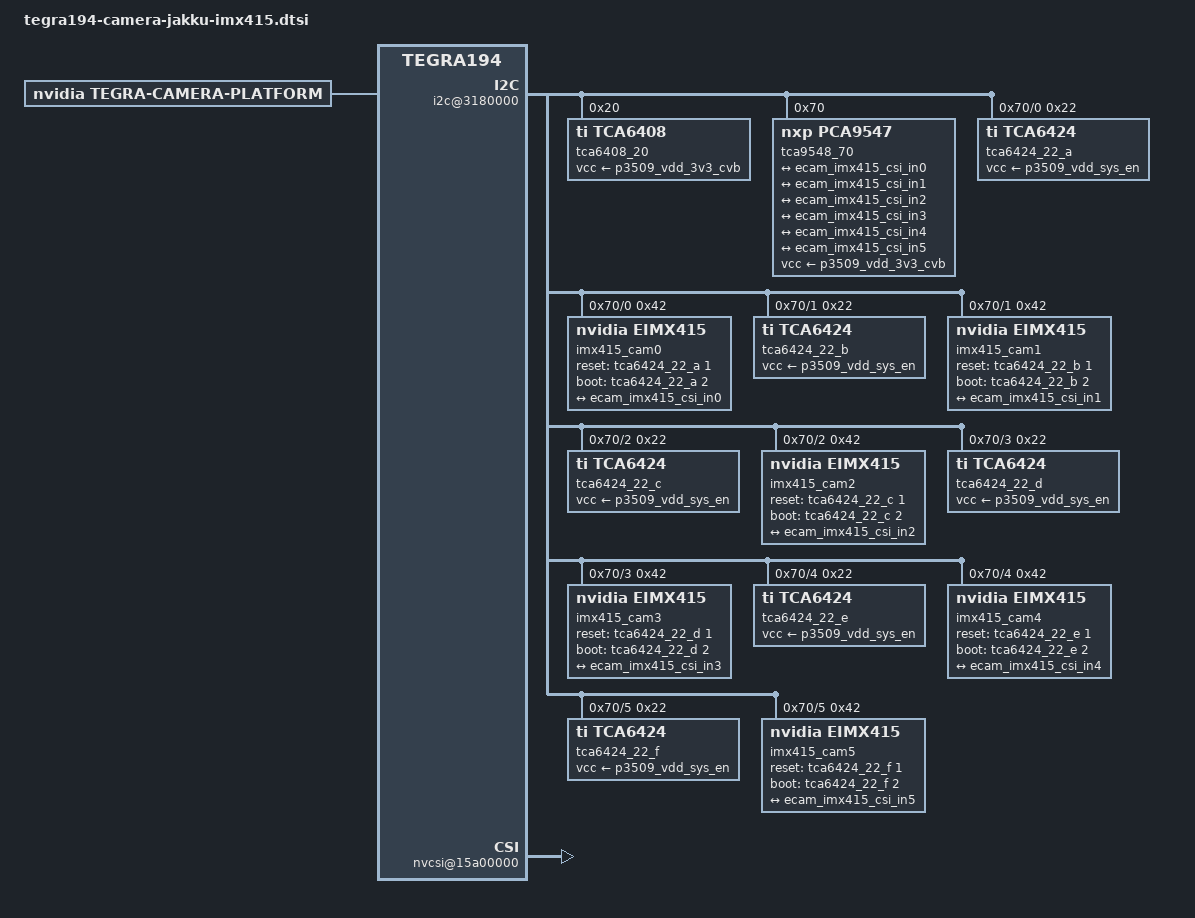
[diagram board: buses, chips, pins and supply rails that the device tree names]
/*
 * Copyright (c) 2018-2020, NVIDIA CORPORATION.  All rights reserved.
 *
 * This program is free software; you can redistribute it and/or modify
 * it under the terms of the GNU General Public License as published by
 * the Free Software Foundation; either version 2 of the License, or
 * (at your option) any later version.
 *
 * This program is distributed in the hope that it will be useful, but WITHOUT
 * ANY WARRANTY; without even the implied warranty of MERCHANTABILITY or
 * FITNESS FOR A PARTICULAR PURPOSE.  See the GNU General Public License for
 * more details.
 *
 * You should have received a copy of the GNU General Public License
 * along with this program.  If not, see <http://www.gnu.org/licenses/>.
 */

#include <dt-bindings/media/camera.h>

#define CAMERA_I2C_MUX_BUS(x) (0x1E + x)
/ {
	i2c@3180000{
		#address-cells = <1>;
		#size-cells = <0>;
		tca6408_20: tca6408@20 {
			    compatible = "ti,tca6408";
			    gpio-controller;
			    #gpio-cells = <2>;
			    reg = <0x20>;
				vcc-supply = <&p3509_vdd_3v3_cvb>;
			    status = "okay";
			    tca6408_20_outlow {
				/*
				 * GPIO-0 : RST_CAM1
				 * GPIO-1 : RST_CAM2
				 * GPIO-2 : RST_CAM3
				 * .... more is there
				 */
				 gpio-hog;
				 gpios = <0 0 1 0 2 0 3 0 4 0 5 0 6 0 7 0>;
				 output-low;
				 label = "cam_rst_0",
						 "cam_rst_1",
						 "cam_rst_2",
						 "cam_rst_3",
						 "cam_rst_4",
						 "cam_rst_5",
						 "ext_gpio_0",
						 "ext_gpio_1";
			    };
				tca6408_20_outhigh {
			            status = "disabled";
				};
			    tca6408_20_input {
			            status = "disabled";
			    };
		};

		tca9548_70: tca9548@70 {
			status = "okay";
			compatible = "nxp,pca9547";
			reg = <0x70>;
			#address-cells = <1>;
			#size-cells = <0>;		
			//vcc-supply = <&en_vdd_cam>;
			vcc-supply = <&p3509_vdd_3v3_cvb>;
			skip_mux_detect;	
			force_bus_start = <CAMERA_I2C_MUX_BUS(0)>;			
			i2c@0 {
				status = "okay";
				reg = <0>;
				i2c-mux,deselect-on-exit;
				#address-cells = <1>;
				#size-cells = <0>;

				tca6424_22_a: tca6424@22 {
			    	compatible = "ti,tca6424";
			    	gpio-controller;
			    	#gpio-cells = <2>;
			    	reg = <0x22>;
					vcc-supply = <&p3509_vdd_sys_en>;
			    	status = "okay";
			    	tca6424_22_outlow {
					status = "okay";
					/*
					 * GPIO-0 : RST_CAM1
					 * GPIO-1 : RST_CAM2
					 * GPIO-2 : RST_CAM3
					 * .... more is there
					 */
					 gpio-hog;
					 gpios = <0 0 1 0 2 0 3 0 4 0 5 0 6 0 7 0>;
					 output-low;
					 label = "tca6424_22_outlow_0",
					         "tca6424_22_outlow_1",
					         "tca6424_22_outlow_2",
					         "tca6424_22_outlow_3",
					         "tca6424_22_outlow_4",
					         "tca6424_22_outlow_5",
					         "tca6424_22_outlow_6",
					         "tca6424_22_outlow_7";
			    	};
			    	tca6424_22_outhigh {
			    	        status = "disabled";
			    	};
			    	tca6424_22_input {
			    	        status = "disabled";
			    	};

				};
				imx415_a@42 {
					reset-gpios = <&tca6424_22_a 1 GPIO_ACTIVE_HIGH>;
					boot-gpios  = <&tca6424_22_a 2 GPIO_ACTIVE_HIGH>;
				};
			};
			i2c@1 {
				status = "okay";
				reg = <1>;
				i2c-mux,deselect-on-exit;
				#address-cells = <1>;
				#size-cells = <0>;
					tca6424_22_b: tca6424@22 {
			    	compatible = "ti,tca6424";
			    	gpio-controller;
			    	#gpio-cells = <2>;
			    	reg = <0x22>;
					vcc-supply = <&p3509_vdd_sys_en>;
			    	status = "okay";
			    	tca6424_22_outlow {
					status = "okay";
					/*
					 * GPIO-0 : RST_CAM1
					 * GPIO-1 : RST_CAM2
					 * GPIO-2 : RST_CAM3
					 * .... more is there
					 */
					 gpio-hog;
					 gpios = <0 0 1 0 2 0 3 0 4 0 5 0 6 0 7 0>;
					 output-low;
					 label = "tca6424_22_outlow_0",
					         "tca6424_22_outlow_1",
					         "tca6424_22_outlow_2",
					         "tca6424_22_outlow_3",
					         "tca6424_22_outlow_4",
					         "tca6424_22_outlow_5",
					         "tca6424_22_outlow_6",
					         "tca6424_22_outlow_7";
			    	};
			    	tca6424_22_outhigh {
			    	        status = "disabled";
			    	};
			    	tca6424_22_input {
			    	        status = "disabled";
			    	};

				};
				imx415_c@42 {
					reset-gpios = <&tca6424_22_b 1 GPIO_ACTIVE_HIGH>;
					boot-gpios  = <&tca6424_22_b 2 GPIO_ACTIVE_HIGH>;
				};
			};
			i2c@2 {
				status = "okay";
				reg = <2>;
				i2c-mux,deselect-on-exit;
				#address-cells = <1>;
				#size-cells = <0>;
					tca6424_22_c: tca6424@22 {
			    	compatible = "ti,tca6424";
			    	gpio-controller;
			    	#gpio-cells = <2>;
			    	reg = <0x22>;
					vcc-supply = <&p3509_vdd_sys_en>;
			    	status = "okay";
			    	tca6424_22_outlow {
					status = "okay";
					/*
					 * GPIO-0 : RST_CAM1
					 * GPIO-1 : RST_CAM2
					 * GPIO-2 : RST_CAM3
					 * .... more is there
					 */
					 gpio-hog;
					 gpios = <0 0 1 0 2 0 3 0 4 0 5 0 6 0 7 0>;
					 output-low;
					 label = "tca6424_22_outlow_0",
					         "tca6424_22_outlow_1",
					         "tca6424_22_outlow_2",
					         "tca6424_22_outlow_3",
					         "tca6424_22_outlow_4",
					         "tca6424_22_outlow_5",
					         "tca6424_22_outlow_6",
					         "tca6424_22_outlow_7";
			    	};
			    	tca6424_22_outhigh {
			    	        status = "disabled";
			    	};
			    	tca6424_22_input {
			    	        status = "disabled";
			    	};

				};
				imx415_d@42 {
					reset-gpios = <&tca6424_22_c 1 GPIO_ACTIVE_HIGH>;
					boot-gpios  = <&tca6424_22_c 2 GPIO_ACTIVE_HIGH>;
				};
			};
			i2c@3 {
				status = "okay";
				reg = <3>;
				i2c-mux,deselect-on-exit;
				#address-cells = <1>;
				#size-cells = <0>;
					tca6424_22_d: tca6424@22 {
			    	compatible = "ti,tca6424";
			    	gpio-controller;
			    	#gpio-cells = <2>;
			    	reg = <0x22>;
					vcc-supply = <&p3509_vdd_sys_en>;
			    	status = "okay";
			    	tca6424_22_outlow {
					status = "okay";
					/*
					 * GPIO-0 : RST_CAM1
					 * GPIO-1 : RST_CAM2
					 * GPIO-2 : RST_CAM3
					 * .... more is there
					 */
					 gpio-hog;
					 gpios = <0 0 1 0 2 0 3 0 4 0 5 0 6 0 7 0>;
					 output-low;
					 label = "tca6424_22_outlow_0",
					         "tca6424_22_outlow_1",
					         "tca6424_22_outlow_2",
					         "tca6424_22_outlow_3",
					         "tca6424_22_outlow_4",
					         "tca6424_22_outlow_5",
					         "tca6424_22_outlow_6",
					         "tca6424_22_outlow_7";
			    	};
			    	tca6424_22_outhigh {
			    	        status = "disabled";
			    	};
			    	tca6424_22_input {
			    	        status = "disabled";
			    	};

				};
				imx415_e@42 {
					reset-gpios = <&tca6424_22_d 1 GPIO_ACTIVE_HIGH>;
					boot-gpios  = <&tca6424_22_d 2 GPIO_ACTIVE_HIGH>;
				};
			};
			i2c@4 {
				status = "okay";
				reg = <4>;
				i2c-mux,deselect-on-exit;
				#address-cells = <1>;
				#size-cells = <0>;
					tca6424_22_e: tca6424@22 {
			    	compatible = "ti,tca6424";
			    	gpio-controller;
			    	#gpio-cells = <2>;
			    	reg = <0x22>;
					vcc-supply = <&p3509_vdd_sys_en>;
			    	status = "okay";
			    	tca6424_22_outlow {
					status = "okay";
					/*
					 * GPIO-0 : RST_CAM1
					 * GPIO-1 : RST_CAM2
					 * GPIO-2 : RST_CAM3
					 * .... more is there
					 */
					 gpio-hog;
					 gpios = <0 0 1 0 2 0 3 0 4 0 5 0 6 0 7 0>;
					 output-low;
					 label = "tca6424_22_outlow_0",
					         "tca6424_22_outlow_1",
					         "tca6424_22_outlow_2",
					         "tca6424_22_outlow_3",
					         "tca6424_22_outlow_4",
					         "tca6424_22_outlow_5",
					         "tca6424_22_outlow_6",
					         "tca6424_22_outlow_7";
			    	};
			    	tca6424_22_outhigh {
			    	        status = "disabled";
			    	};
			    	tca6424_22_input {
			    	        status = "disabled";
			    	};

				};
				imx415_b@42 {
					reset-gpios = <&tca6424_22_e 1 GPIO_ACTIVE_HIGH>;
					boot-gpios  = <&tca6424_22_e 2 GPIO_ACTIVE_HIGH>;
				};
			};
			i2c@5 {
				status = "okay";
				reg = <5>;
				i2c-mux,deselect-on-exit;
				#address-cells = <1>;
				#size-cells = <0>;
					tca6424_22_f: tca6424@22 {
			    	compatible = "ti,tca6424";
			    	gpio-controller;
			    	#gpio-cells = <2>;
			    	reg = <0x22>;
					vcc-supply = <&p3509_vdd_sys_en>;
			    	status = "okay";
			    	tca6424_22_outlow {
					status = "okay";
					/*
					 * GPIO-0 : RST_CAM1
					 * GPIO-1 : RST_CAM2
					 * GPIO-2 : RST_CAM3
					 * .... more is there
					 */
					 gpio-hog;
					 gpios = <0 0 1 0 2 0 3 0 4 0 5 0 6 0 7 0>;
					 output-low;
					 label = "tca6424_22_outlow_0",
					         "tca6424_22_outlow_1",
					         "tca6424_22_outlow_2",
					         "tca6424_22_outlow_3",
					         "tca6424_22_outlow_4",
					         "tca6424_22_outlow_5",
					         "tca6424_22_outlow_6",
					         "tca6424_22_outlow_7";
			    	};
			    	tca6424_22_outhigh {
			    	        status = "disabled";
			    	};
			    	tca6424_22_input {
			    	        status = "disabled";
			    	};

				};
				imx415_g@42 {
					reset-gpios = <&tca6424_22_f 1 GPIO_ACTIVE_HIGH>;
					boot-gpios  = <&tca6424_22_f 2 GPIO_ACTIVE_HIGH>;
				};
			};
		};
	};
};


/ {
	tegra-capture-vi  {
			num-channels = <6>;
			ports {
				status="okay";
				#address-cells = <1>;
				#size-cells = <0>;
				vi_port0: port@0 {
					reg = <0>;
					status="okay";
					ecam_imx415_vi_in0: endpoint {
						status="okay";
						port-index = <0>;
						bus-width = <2>;
						remote-endpoint = <&ecam_imx415_csi_out0>;
					};
				};
				vi_port1: port@1 {
					reg = <1>;
					status="okay";
					ecam_imx415_vi_in1: endpoint {
						status="okay";
						port-index = <2>;
						bus-width = <2>;
						remote-endpoint = <&ecam_imx415_csi_out1>;
					};
				};
				vi_port2: port@2 {
					reg = <2>;
					status="okay";
					ecam_imx415_vi_in2: endpoint {
						status="okay";
						port-index = <3>;
						bus-width = <2>;
						remote-endpoint = <&ecam_imx415_csi_out2>;
					};
				};
				vi_port3: port@3 {
					reg = <3>;
					status="okay";
					ecam_imx415_vi_in3: endpoint {
						status="okay";
						port-index = <4>;
						bus-width = <2>;
						remote-endpoint = <&ecam_imx415_csi_out3>;
					};
				};
				vi_port4: port@4 {
					reg = <4>;
					status="okay";
					ecam_imx415_vi_in4: endpoint {
						status="okay";
						port-index = <1>;
						bus-width = <2>;
						remote-endpoint = <&ecam_imx415_csi_out4>;
					};
				};
				vi_port5: port@5 {
					reg = <5>;
					status="okay";
					ecam_imx415_vi_in5: endpoint {
						status="okay";
						port-index = <5>;
						bus-width = <2>;
						remote-endpoint = <&ecam_imx415_csi_out5>;
					};
				};			
			};
		};

	host1x@13e00000 {	
		nvcsi@15a00000 {
			num-channels = <6>;
			#address-cells = <1>;
			#size-cells = <0>;
			status="okay";
			csi_chan0: channel@0 {
				reg = <0>;
				status="okay";
				ports {
					#address-cells = <1>;
					#size-cells = <0>;
					status="okay";
					csi_chan0_port0: port@0 {
						reg = <0>;
						status="okay";
						ecam_imx415_csi_in0: endpoint@0 {
							port-index = <0>;
							bus-width = <2>;
							remote-endpoint = <&ecam_imx415_out0>;
							status="okay";
						};
					};
					csi_chan0_port1: port@1 {
						reg = <1>;
						status="okay";
						ecam_imx415_csi_out0: endpoint@1 {
							remote-endpoint = <&ecam_imx415_vi_in0>;
							status="okay";
						};
					};
				};
			};
			csi_chan1: channel@1 {
				reg = <1>;
				status="okay";
				ports {
					#address-cells = <1>;
					#size-cells = <0>;
					status="okay";
					csi_chan1_port0: port@0 {
						reg = <0>;
						status="okay";
						ecam_imx415_csi_in1: endpoint@2 {
							port-index = <2>;
							bus-width = <2>;
							status="okay";
							remote-endpoint = <&ecam_imx415_out1>;
						};
					};
					csi_chan1_port1: port@1 {
						reg = <1>;
						status="okay";
						ecam_imx415_csi_out1: endpoint@3 {
							remote-endpoint = <&ecam_imx415_vi_in1>;
							status="okay";
						};
					};
				};
			};
			csi_chan2: channel@2 {
				reg = <2>;
				status="okay";
				ports {
					#address-cells = <1>;
					#size-cells = <0>;
					status="okay";
					csi_chan2_port0: port@0 {
						reg = <0>;
						status="okay";
						ecam_imx415_csi_in2: endpoint@4 {
							port-index = <3>;
							bus-width = <2>;
							remote-endpoint = <&ecam_imx415_out2>;
							status="okay";
						};
					};
					csi_chan2_port1: port@1 {
						reg = <1>;
						status="okay";
						ecam_imx415_csi_out2: endpoint@5 {
							remote-endpoint = <&ecam_imx415_vi_in2>;
							status="okay";
						};
					};
				};
			};
			csi_chan3: channel@3 {
				reg = <3>;
				status="okay";
				ports {
					#address-cells = <1>;
					#size-cells = <0>;
					status="okay";
					csi_chan3_port3: port@0 {
						reg = <0>;
						status="okay";
						ecam_imx415_csi_in3: endpoint@6 {
							port-index = <4>;
							bus-width = <2>;
							remote-endpoint = <&ecam_imx415_out3>;
							status="okay";
						};
					};
					csi_chan3_port1: port@1 {
						reg = <1>;
						status="okay";
						ecam_imx415_csi_out3: endpoint@7 {
							remote-endpoint = <&ecam_imx415_vi_in3>;
							status="okay";
						};
					};
				};
			};
			csi_chan4: channel@4 {
				reg = <4>;
				status="okay";
				ports {
					#address-cells = <1>;
					#size-cells = <0>;
					status="okay";
					csi_chan4_port0: port@0 {
						reg = <0>;
						status="okay";
						ecam_imx415_csi_in4: endpoint@8 {
							port-index = <1>;
							bus-width = <2>;
							remote-endpoint = <&ecam_imx415_out4>;
							status="okay";
						};
					};
					csi_chan4_port1: port@1 {
						reg = <1>;
						status="okay";
						ecam_imx415_csi_out4: endpoint@9 {
							remote-endpoint = <&ecam_imx415_vi_in4>;
							status="okay";
						};
					};
				};
			};
			csi_chan5: channel@5 {
				reg = <5>;
				status="okay";
				ports {
					#address-cells = <1>;
					#size-cells = <0>;
					status="okay";
					csi_chan5_port0: port@0 {
						reg = <0>;
						status="okay";
						ecam_imx415_csi_in5: endpoint@10 {
							port-index = <5>;
							bus-width = <2>;
							remote-endpoint = <&ecam_imx415_out5>;
							status="okay";
						};
					};
					csi_chan5_port1: port@1 {
						reg = <1>;
						status="okay";
						ecam_imx415_csi_out5: endpoint@111 {
							remote-endpoint = <&ecam_imx415_vi_in5>;
							status="okay";
						};
					};
				};
			};
		};
	};

	i2c@3180000{ 		
		tca9548@70 {
			i2c_0: i2c@0 {
				imx415_cam0: imx415_a@42 {
					compatible = "nvidia,eimx415";
					/* I2C device address */
					reg = <0x42>;

					/* V4L2 device node location */
					devnode = "video0";
					status = "okay";
					/* Physical dimensions of sensor */
					physical_w = "5.60";
					physical_h = "3.175";

					sensor_model = "eimx415";

					use_decibel_gain = "true";
					use_sensor_mode_id = "true";
					use_dol_wdr_mode = "false";
					use_master_slave_mode = "false";
					limit_analog_gain = "true";
					camera_mipi_lanes = /bits/ 8 <2>;
					mipi-clk-configurable;
					camera_mipi_clk = /bits/ 16 <2000>;
					mode0 {
						mclk_khz = "37125";
						num_lanes = "2";
						tegra_sinterface = "serial_a";
						phy_mode = "DPHY";
						discontinuous_clk = "no";
						dpcm_enable = "false";
						cil_settletime = "0";
						dynamic_pixel_bit_depth = "12";
						csi_pixel_bit_depth = "12";
						mode_type = "bayer";
						pixel_phase = "gbrg";

						active_w = "3840";
						active_h = "2160";
						readout_orientation = "0";
						line_length = "887";
						inherent_gain = "1";
						mclk_multiplier = "1";
						pix_clk_hz = "300000000";

						gain_factor = "10";
						min_gain_val = "0";
						max_gain_val = "300";
						step_gain_val = "3";
						default_gain = "0";
						min_hdr_ratio = "1";
						max_hdr_ratio = "1";
						framerate_factor = "1000000";
						min_framerate = "5000000";
						max_framerate = "37000000";
						step_framerate = "1";
						default_framerate = "37000000";
						exposure_factor = "1000000";
						min_exp_time = "450";
						max_exp_time = "200000";
						step_exp_time = "1";
						default_exp_time = "27027";
						embedded_metadata_height = "1";
					};
					mode1 {
						mclk_khz = "37125";
						num_lanes = "2";
						tegra_sinterface = "serial_a";
						phy_mode = "DPHY";
						discontinuous_clk = "no";
						dpcm_enable = "false";
						cil_settletime = "0";
						dynamic_pixel_bit_depth = "10";
						csi_pixel_bit_depth = "10";
						mode_type = "bayer";
						pixel_phase = "gbrg";

						active_w = "3840";
						active_h = "2160";
						readout_orientation = "0";
						line_length = "746";
						inherent_gain = "1";
						mclk_multiplier = "1";
						pix_clk_hz = "300000000";

						gain_factor = "10";
						min_gain_val = "0";
						max_gain_val = "300";
						step_gain_val = "3";
						default_gain = "0";
						min_hdr_ratio = "1";
						max_hdr_ratio = "1";
						framerate_factor = "1000000";
						min_framerate = "5000000";
						max_framerate = "44000000";
						step_framerate = "1";
						default_framerate = "44000000";
						exposure_factor = "1000000";
						min_exp_time = "450";
						max_exp_time = "200000";
						step_exp_time = "1";
						default_exp_time = "22727";
						embedded_metadata_height = "1";
					};
					mode2 {
						mclk_khz = "37125";
						num_lanes = "2";
						tegra_sinterface = "serial_a";
						phy_mode = "DPHY";
						discontinuous_clk = "no";
						dpcm_enable = "false";
						cil_settletime = "0";
						dynamic_pixel_bit_depth = "12";
						csi_pixel_bit_depth = "12";
						mode_type = "bayer";
						pixel_phase = "gbrg";

						active_w = "1944";
						active_h = "1096";
						readout_orientation = "0";
						line_length = "470";
						inherent_gain = "1";
						mclk_multiplier = "1";
						pix_clk_hz = "300000000";

						gain_factor = "10";
						min_gain_val = "0";
						max_gain_val = "300";
						step_gain_val = "3";
						default_gain = "0";
						min_hdr_ratio = "1";
						max_hdr_ratio = "1";
						framerate_factor = "1000000";
						min_framerate = "5000000";
						max_framerate = "70000000";
						step_framerate = "1";
						default_framerate = "70000000";
						exposure_factor = "1000000";
						min_exp_time = "450";
						max_exp_time = "200000";
						step_exp_time = "1";
						default_exp_time = "14285";
						embedded_metadata_height = "1";
					};
					mode3 {
						mclk_khz = "37125";
						num_lanes = "2";
						tegra_sinterface = "serial_a";
						phy_mode = "DPHY";
						discontinuous_clk = "no";
						dpcm_enable = "false";
						cil_settletime = "0";
						dynamic_pixel_bit_depth = "12";
						csi_pixel_bit_depth = "12";
						mode_type = "bayer";
						pixel_phase = "gbrg";

						active_w = "1296";
						active_h = "732";
						readout_orientation = "0";
						line_length = "470";
						inherent_gain = "1";
						mclk_multiplier = "1";
						pix_clk_hz = "300000000";

						gain_factor = "10";
						min_gain_val = "0";
						max_gain_val = "300";
						step_gain_val = "3";
						default_gain = "0";
						min_hdr_ratio = "1";
						max_hdr_ratio = "1";
						framerate_factor = "1000000";
						min_framerate = "5000000";
						max_framerate = "104000000";
						step_framerate = "1";
						default_framerate = "104000000";
						exposure_factor = "1000000";
						min_exp_time = "450";
						max_exp_time = "200000";
						step_exp_time = "1";
						default_exp_time = "9615";
						embedded_metadata_height = "1";
					};
					ports {
						#address-cells = <1>;
						#size-cells = <0>;
						status="okay";
						port@0 {
						status="okay";
							reg = <0>;
							ecam_imx415_out0: endpoint {
								port-index = <0>;
								bus-width = <2>;
								remote-endpoint = <&ecam_imx415_csi_in0>;
							};
						};
					};
				};
			};
			i2c_1: i2c@1 {
				imx415_cam1: imx415_c@42 {
					compatible = "nvidia,eimx415";
					/* I2C device address */
					reg = <0x42>;

					/* V4L2 device node location */
					devnode = "video1";
					status = "okay";
					/* Physical dimensions of sensor */
					physical_w = "5.60";
					physical_h = "3.175";

					sensor_model = "eimx415";

					use_decibel_gain = "true";
					use_sensor_mode_id = "true";
					use_dol_wdr_mode = "false";
					use_master_slave_mode = "false";
					limit_analog_gain = "true";
					camera_mipi_lanes = /bits/ 8 <2>;
					mipi-clk-configurable;
					camera_mipi_clk = /bits/ 16 <2000>;
					mode0 {
						mclk_khz = "37125";
						num_lanes = "2";
						tegra_sinterface = "serial_c";
						phy_mode = "DPHY";
						discontinuous_clk = "no";
						dpcm_enable = "false";
						cil_settletime = "0";
						dynamic_pixel_bit_depth = "12";
						csi_pixel_bit_depth = "12";
						mode_type = "bayer";
						pixel_phase = "gbrg";

						active_w = "3840";
						active_h = "2160";
						readout_orientation = "0";
						line_length = "887";
						inherent_gain = "1";
						mclk_multiplier = "1";
						pix_clk_hz = "300000000";

						gain_factor = "10";
						min_gain_val = "0";
						max_gain_val = "300";
						step_gain_val = "3";
						default_gain = "0";
						min_hdr_ratio = "1";
						max_hdr_ratio = "1";
						framerate_factor = "1000000";
						min_framerate = "5000000";
						max_framerate = "37000000";
						step_framerate = "1";
						default_framerate = "37000000";
						exposure_factor = "1000000";
						min_exp_time = "450";
						max_exp_time = "200000";
						step_exp_time = "1";
						default_exp_time = "27027";
						embedded_metadata_height = "1";
					};
					mode1 {
						mclk_khz = "37125";
						num_lanes = "2";
						tegra_sinterface = "serial_c";
						phy_mode = "DPHY";
						discontinuous_clk = "no";
						dpcm_enable = "false";
						cil_settletime = "0";
						dynamic_pixel_bit_depth = "10";
						csi_pixel_bit_depth = "10";
						mode_type = "bayer";
						pixel_phase = "gbrg";

						active_w = "3840";
						active_h = "2160";
						readout_orientation = "0";
						line_length = "746";
						inherent_gain = "1";
						mclk_multiplier = "1";
						pix_clk_hz = "300000000";

						gain_factor = "10";
						min_gain_val = "0";
						max_gain_val = "300";
						step_gain_val = "3";
						default_gain = "0";
						min_hdr_ratio = "1";
						max_hdr_ratio = "1";
						framerate_factor = "1000000";
						min_framerate = "5000000";
						max_framerate = "44000000";
						step_framerate = "1";
						default_framerate = "44000000";
						exposure_factor = "1000000";
						min_exp_time = "450";
						max_exp_time = "200000";
						step_exp_time = "1";
						default_exp_time = "22727";
						embedded_metadata_height = "1";
					};
					mode2 {
						mclk_khz = "37125";
						num_lanes = "2";
						tegra_sinterface = "serial_c";
						phy_mode = "DPHY";
						discontinuous_clk = "no";
						dpcm_enable = "false";
						cil_settletime = "0";
						dynamic_pixel_bit_depth = "12";
						csi_pixel_bit_depth = "12";
						mode_type = "bayer";
						pixel_phase = "gbrg";

						active_w = "1944";
						active_h = "1096";
						readout_orientation = "0";
						line_length = "470";
						inherent_gain = "1";
						mclk_multiplier = "1";
						pix_clk_hz = "300000000";

						gain_factor = "10";
						min_gain_val = "0";
						max_gain_val = "300";
						step_gain_val = "3";
						default_gain = "0";
						min_hdr_ratio = "1";
						max_hdr_ratio = "1";
						framerate_factor = "1000000";
						min_framerate = "5000000";
						max_framerate = "70000000";
						step_framerate = "1";
						default_framerate = "70000000";
						exposure_factor = "1000000";
						min_exp_time = "450";
						max_exp_time = "200000";
						step_exp_time = "1";
						default_exp_time = "14285";
						embedded_metadata_height = "1";
					};
					mode3 {
						mclk_khz = "37125";
						num_lanes = "2";
						tegra_sinterface = "serial_c";
						phy_mode = "DPHY";
						discontinuous_clk = "no";
						dpcm_enable = "false";
						cil_settletime = "0";
						dynamic_pixel_bit_depth = "12";
						csi_pixel_bit_depth = "12";
						mode_type = "bayer";
						pixel_phase = "gbrg";

						active_w = "1296";
						active_h = "732";
						readout_orientation = "0";
						line_length = "470";
						inherent_gain = "1";
						mclk_multiplier = "1";
						pix_clk_hz = "300000000";

						gain_factor = "10";
						min_gain_val = "0";
						max_gain_val = "300";
						step_gain_val = "3";
						default_gain = "0";
						min_hdr_ratio = "1";
						max_hdr_ratio = "1";
						framerate_factor = "1000000";
						min_framerate = "5000000";
						max_framerate = "104000000";
						step_framerate = "1";
						default_framerate = "104000000";
						exposure_factor = "1000000";
						min_exp_time = "450";
						max_exp_time = "200000";
						step_exp_time = "1";
						default_exp_time = "9615";
						embedded_metadata_height = "1";
					};
					ports {
						#address-cells = <1>;
						#size-cells = <0>;
						port@0 {
							reg = <0>;
							status="okay";
							ecam_imx415_out1: endpoint {
								status = "okay";
								port-index = <2>;
								bus-width = <2>;
								remote-endpoint = <&ecam_imx415_csi_in1>;
							};
						};
					};
				};
			};
			i2c_2: i2c@2 { /*CSI B*/
				imx415_cam2: imx415_d@42 {
					compatible = "nvidia,eimx415";
					/* I2C device address */
					reg = <0x42>;

					/* V4L2 device node location */
					devnode = "video2";
					status = "okay";
					/* Physical dimensions of sensor */
					physical_w = "5.60";
					physical_h = "3.175";

					sensor_model = "eimx415";

					use_decibel_gain = "true";
					use_sensor_mode_id = "true";
					use_dol_wdr_mode = "false";
					use_master_slave_mode = "false";
					limit_analog_gain = "true";
					camera_mipi_lanes = /bits/ 8 <2>;
					mipi-clk-configurable;
					camera_mipi_clk = /bits/ 16 <2000>;
					mode0 {
						mclk_khz = "37125";
						num_lanes = "2";
						tegra_sinterface = "serial_d";
						phy_mode = "DPHY";
						discontinuous_clk = "no";
						dpcm_enable = "false";
						cil_settletime = "0";
						dynamic_pixel_bit_depth = "12";
						csi_pixel_bit_depth = "12";
						mode_type = "bayer";
						pixel_phase = "gbrg";

						active_w = "3840";
						active_h = "2160";
						readout_orientation = "0";
						line_length = "887";
						inherent_gain = "1";
						mclk_multiplier = "1";
						pix_clk_hz = "300000000";

						gain_factor = "10";
						min_gain_val = "0";
						max_gain_val = "300";
						step_gain_val = "3";
						default_gain = "0";
						min_hdr_ratio = "1";
						max_hdr_ratio = "1";
						framerate_factor = "1000000";
						min_framerate = "5000000";
						max_framerate = "37000000";
						step_framerate = "1";
						default_framerate = "37000000";
						exposure_factor = "1000000";
						min_exp_time = "450";
						max_exp_time = "200000";
						step_exp_time = "1";
						default_exp_time = "27027";
						embedded_metadata_height = "1";
					};
					mode1 {
						mclk_khz = "37125";
						num_lanes = "2";
						tegra_sinterface = "serial_d";
						phy_mode = "DPHY";
						discontinuous_clk = "no";
						dpcm_enable = "false";
						cil_settletime = "0";
						dynamic_pixel_bit_depth = "10";
						csi_pixel_bit_depth = "10";
						mode_type = "bayer";
						pixel_phase = "gbrg";

						active_w = "3840";
						active_h = "2160";
						readout_orientation = "0";
						line_length = "746";
						inherent_gain = "1";
						mclk_multiplier = "1";
						pix_clk_hz = "300000000";

						gain_factor = "10";
						min_gain_val = "0";
						max_gain_val = "300";
						step_gain_val = "3";
						default_gain = "0";
						min_hdr_ratio = "1";
						max_hdr_ratio = "1";
						framerate_factor = "1000000";
						min_framerate = "5000000";
						max_framerate = "44000000";
						step_framerate = "1";
						default_framerate = "44000000";
						exposure_factor = "1000000";
						min_exp_time = "450";
						max_exp_time = "200000";
						step_exp_time = "1";
						default_exp_time = "22727";
						embedded_metadata_height = "1";
					};
					mode2 {
						mclk_khz = "37125";
						num_lanes = "2";
						tegra_sinterface = "serial_d";
						phy_mode = "DPHY";
						discontinuous_clk = "no";
						dpcm_enable = "false";
						cil_settletime = "0";
						dynamic_pixel_bit_depth = "12";
						csi_pixel_bit_depth = "12";
						mode_type = "bayer";
						pixel_phase = "gbrg";

						active_w = "1944";
						active_h = "1096";
						readout_orientation = "0";
						line_length = "470";
						inherent_gain = "1";
						mclk_multiplier = "1";
						pix_clk_hz = "300000000";

						gain_factor = "10";
						min_gain_val = "0";
						max_gain_val = "300";
						step_gain_val = "3";
						default_gain = "0";
						min_hdr_ratio = "1";
						max_hdr_ratio = "1";
						framerate_factor = "1000000";
						min_framerate = "5000000";
						max_framerate = "70000000";
						step_framerate = "1";
						default_framerate = "70000000";
						exposure_factor = "1000000";
						min_exp_time = "450";
						max_exp_time = "200000";
						step_exp_time = "1";
						default_exp_time = "14285";
						embedded_metadata_height = "1";
					};
					mode3 {
						mclk_khz = "37125";
						num_lanes = "2";
						tegra_sinterface = "serial_d";
						phy_mode = "DPHY";
						discontinuous_clk = "no";
						dpcm_enable = "false";
						cil_settletime = "0";
						dynamic_pixel_bit_depth = "12";
						csi_pixel_bit_depth = "12";
						mode_type = "bayer";
						pixel_phase = "gbrg";

						active_w = "1296";
						active_h = "732";
						readout_orientation = "0";
						line_length = "470";
						inherent_gain = "1";
						mclk_multiplier = "1";
						pix_clk_hz = "300000000";

						gain_factor = "10";
						min_gain_val = "0";
						max_gain_val = "300";
						step_gain_val = "3";
						default_gain = "0";
						min_hdr_ratio = "1";
						max_hdr_ratio = "1";
						framerate_factor = "1000000";
						min_framerate = "5000000";
						max_framerate = "104000000";
						step_framerate = "1";
						default_framerate = "104000000";
						exposure_factor = "1000000";
						min_exp_time = "450";
						max_exp_time = "200000";
						step_exp_time = "1";
						default_exp_time = "9615";
						embedded_metadata_height = "1";
					};
					ports {
						#address-cells = <1>;
						#size-cells = <0>;
						status="okay";
						port@0 {
						status="okay";
							reg = <0>;
							ecam_imx415_out2: endpoint {
								port-index = <3>;
								bus-width = <2>;
								remote-endpoint = <&ecam_imx415_csi_in2>;
							};
						};
					};
				};
			};
			i2c_3: i2c@3 { /*CSI D*/
				imx415_cam3: imx415_e@42 {
					compatible = "nvidia,eimx415";
					/* I2C device address */
					reg = <0x42>;

					/* V4L2 device node location */
					devnode = "video3";
					status = "okay";
					/* Physical dimensions of sensor */
					physical_w = "5.60";
					physical_h = "3.175";

					sensor_model = "eimx415";

					use_decibel_gain = "true";
					use_sensor_mode_id = "true";
					use_dol_wdr_mode = "false";
					use_master_slave_mode = "false";
					limit_analog_gain = "true";
					camera_mipi_lanes = /bits/ 8 <2>;
					mipi-clk-configurable;
					camera_mipi_clk = /bits/ 16 <2000>;
					mode0 {
						mclk_khz = "37125";
						num_lanes = "2";
						tegra_sinterface = "serial_e";
						phy_mode = "DPHY";
						discontinuous_clk = "no";
						dpcm_enable = "false";
						cil_settletime = "0";
						dynamic_pixel_bit_depth = "12";
						csi_pixel_bit_depth = "12";
						mode_type = "bayer";
						pixel_phase = "gbrg";

						active_w = "3840";
						active_h = "2160";
						readout_orientation = "0";
						line_length = "887";
						inherent_gain = "1";
						mclk_multiplier = "1";
						pix_clk_hz = "300000000";

						gain_factor = "10";
						min_gain_val = "0";
						max_gain_val = "300";
						step_gain_val = "3";
						default_gain = "0";
						min_hdr_ratio = "1";
						max_hdr_ratio = "1";
						framerate_factor = "1000000";
						min_framerate = "5000000";
						max_framerate = "37000000";
						step_framerate = "1";
						default_framerate = "37000000";
						exposure_factor = "1000000";
						min_exp_time = "450";
						max_exp_time = "200000";
						step_exp_time = "1";
						default_exp_time = "27027";
						embedded_metadata_height = "1";
					};
					mode1 {
						mclk_khz = "37125";
						num_lanes = "2";
						tegra_sinterface = "serial_e";
						phy_mode = "DPHY";
						discontinuous_clk = "no";
						dpcm_enable = "false";
						cil_settletime = "0";
						dynamic_pixel_bit_depth = "10";
						csi_pixel_bit_depth = "10";
						mode_type = "bayer";
						pixel_phase = "gbrg";

						active_w = "3840";
						active_h = "2160";
						readout_orientation = "0";
						line_length = "746";
						inherent_gain = "1";
						mclk_multiplier = "1";
						pix_clk_hz = "300000000";

						gain_factor = "10";
						min_gain_val = "0";
						max_gain_val = "300";
						step_gain_val = "3";
						default_gain = "0";
						min_hdr_ratio = "1";
						max_hdr_ratio = "1";
						framerate_factor = "1000000";
						min_framerate = "5000000";
						max_framerate = "44000000";
						step_framerate = "1";
						default_framerate = "44000000";
						exposure_factor = "1000000";
						min_exp_time = "450";
						max_exp_time = "200000";
						step_exp_time = "1";
						default_exp_time = "22727";
						embedded_metadata_height = "1";
					};
					mode2 {
						mclk_khz = "37125";
						num_lanes = "2";
						tegra_sinterface = "serial_e";
						phy_mode = "DPHY";
						discontinuous_clk = "no";
						dpcm_enable = "false";
						cil_settletime = "0";
						dynamic_pixel_bit_depth = "12";
						csi_pixel_bit_depth = "12";
						mode_type = "bayer";
						pixel_phase = "gbrg";

						active_w = "1944";
						active_h = "1096";
						readout_orientation = "0";
						line_length = "470";
						inherent_gain = "1";
						mclk_multiplier = "1";
						pix_clk_hz = "300000000";

						gain_factor = "10";
						min_gain_val = "0";
						max_gain_val = "300";
						step_gain_val = "3";
						default_gain = "0";
						min_hdr_ratio = "1";
						max_hdr_ratio = "1";
						framerate_factor = "1000000";
						min_framerate = "5000000";
						max_framerate = "70000000";
						step_framerate = "1";
						default_framerate = "70000000";
						exposure_factor = "1000000";
						min_exp_time = "450";
						max_exp_time = "200000";
						step_exp_time = "1";
						default_exp_time = "14285";
						embedded_metadata_height = "1";
					};
					mode3 {
						mclk_khz = "37125";
						num_lanes = "2";
						tegra_sinterface = "serial_e";
						phy_mode = "DPHY";
						discontinuous_clk = "no";
						dpcm_enable = "false";
						cil_settletime = "0";
						dynamic_pixel_bit_depth = "12";
						csi_pixel_bit_depth = "12";
						mode_type = "bayer";
						pixel_phase = "gbrg";

						active_w = "1296";
						active_h = "732";
						readout_orientation = "0";
						line_length = "470";
						inherent_gain = "1";
						mclk_multiplier = "1";
						pix_clk_hz = "300000000";

						gain_factor = "10";
						min_gain_val = "0";
						max_gain_val = "300";
						step_gain_val = "3";
						default_gain = "0";
						min_hdr_ratio = "1";
						max_hdr_ratio = "1";
						framerate_factor = "1000000";
						min_framerate = "5000000";
						max_framerate = "104000000";
						step_framerate = "1";
						default_framerate = "104000000";
						exposure_factor = "1000000";
						min_exp_time = "450";
						max_exp_time = "200000";
						step_exp_time = "1";
						default_exp_time = "9615";
						embedded_metadata_height = "1";
					};
					ports {
						#address-cells = <1>;
						#size-cells = <0>;
						status="okay";
						port@0 {
						status="okay";
							reg = <0>;
							ecam_imx415_out3: endpoint {
								port-index = <4>;
								bus-width = <2>;
								remote-endpoint = <&ecam_imx415_csi_in3>;
							};
						};
					};
				};
			};
			i2c_4: i2c@4 { /*CSI F*/
				imx415_cam4: imx415_b@42 {
					compatible = "nvidia,eimx415";
					/* I2C device address */
					reg = <0x42>;

					/* V4L2 device node location */
					devnode = "video4";
					status = "okay";
					/* Physical dimensions of sensor */
					physical_w = "5.60";
					physical_h = "3.175";

					sensor_model = "eimx415";

					use_decibel_gain = "true";
					use_sensor_mode_id = "true";
					use_dol_wdr_mode = "false";
					use_master_slave_mode = "false";
					limit_analog_gain = "true";
					camera_mipi_lanes = /bits/ 8 <2>;
					mipi-clk-configurable;
					camera_mipi_clk = /bits/ 16 <2000>;
					mode0 {
						mclk_khz = "37125";
						num_lanes = "2";
						tegra_sinterface = "serial_b";
						phy_mode = "DPHY";
						discontinuous_clk = "no";
						dpcm_enable = "false";
						cil_settletime = "0";
						dynamic_pixel_bit_depth = "12";
						csi_pixel_bit_depth = "12";
						mode_type = "bayer";
						pixel_phase = "gbrg";

						active_w = "3840";
						active_h = "2160";
						readout_orientation = "0";
						line_length = "887";
						inherent_gain = "1";
						mclk_multiplier = "1";
						pix_clk_hz = "300000000";

						gain_factor = "10";
						min_gain_val = "0";
						max_gain_val = "300";
						step_gain_val = "3";
						default_gain = "0";
						min_hdr_ratio = "1";
						max_hdr_ratio = "1";
						framerate_factor = "1000000";
						min_framerate = "5000000";
						max_framerate = "37000000";
						step_framerate = "1";
						default_framerate = "37000000";
						exposure_factor = "1000000";
						min_exp_time = "450";
						max_exp_time = "200000";
						step_exp_time = "1";
						default_exp_time = "27027";
						embedded_metadata_height = "1";
					};
					mode1 {
						mclk_khz = "37125";
						num_lanes = "2";
						tegra_sinterface = "serial_b";
						phy_mode = "DPHY";
						discontinuous_clk = "no";
						dpcm_enable = "false";
						cil_settletime = "0";
						dynamic_pixel_bit_depth = "10";
						csi_pixel_bit_depth = "10";
						mode_type = "bayer";
						pixel_phase = "gbrg";

						active_w = "3840";
						active_h = "2160";
						readout_orientation = "0";
						line_length = "746";
						inherent_gain = "1";
						mclk_multiplier = "1";
						pix_clk_hz = "300000000";

						gain_factor = "10";
						min_gain_val = "0";
						max_gain_val = "300";
						step_gain_val = "3";
						default_gain = "0";
						min_hdr_ratio = "1";
						max_hdr_ratio = "1";
						framerate_factor = "1000000";
						min_framerate = "5000000";
						max_framerate = "44000000";
						step_framerate = "1";
						default_framerate = "44000000";
						exposure_factor = "1000000";
						min_exp_time = "450";
						max_exp_time = "200000";
						step_exp_time = "1";
						default_exp_time = "22727";
						embedded_metadata_height = "1";
					};
					mode2 {
						mclk_khz = "37125";
						num_lanes = "2";
						tegra_sinterface = "serial_b";
						phy_mode = "DPHY";
						discontinuous_clk = "no";
						dpcm_enable = "false";
						cil_settletime = "0";
						dynamic_pixel_bit_depth = "12";
						csi_pixel_bit_depth = "12";
						mode_type = "bayer";
						pixel_phase = "gbrg";

						active_w = "1944";
						active_h = "1096";
						readout_orientation = "0";
						line_length = "470";
						inherent_gain = "1";
						mclk_multiplier = "1";
						pix_clk_hz = "300000000";

						gain_factor = "10";
						min_gain_val = "0";
						max_gain_val = "300";
						step_gain_val = "3";
						default_gain = "0";
						min_hdr_ratio = "1";
						max_hdr_ratio = "1";
						framerate_factor = "1000000";
						min_framerate = "5000000";
						max_framerate = "70000000";
						step_framerate = "1";
						default_framerate = "70000000";
						exposure_factor = "1000000";
						min_exp_time = "450";
						max_exp_time = "200000";
						step_exp_time = "1";
						default_exp_time = "14285";
						embedded_metadata_height = "1";
					};
					mode3 {
						mclk_khz = "37125";
						num_lanes = "2";
						tegra_sinterface = "serial_b";
						phy_mode = "DPHY";
						discontinuous_clk = "no";
						dpcm_enable = "false";
						cil_settletime = "0";
						dynamic_pixel_bit_depth = "12";
						csi_pixel_bit_depth = "12";
						mode_type = "bayer";
						pixel_phase = "gbrg";

						active_w = "1296";
						active_h = "732";
						readout_orientation = "0";
						line_length = "470";
						inherent_gain = "1";
						mclk_multiplier = "1";
						pix_clk_hz = "300000000";

						gain_factor = "10";
						min_gain_val = "0";
						max_gain_val = "300";
						step_gain_val = "3";
						default_gain = "0";
						min_hdr_ratio = "1";
						max_hdr_ratio = "1";
						framerate_factor = "1000000";
						min_framerate = "5000000";
						max_framerate = "104000000";
						step_framerate = "1";
						default_framerate = "104000000";
						exposure_factor = "1000000";
						min_exp_time = "450";
						max_exp_time = "200000";
						step_exp_time = "1";
						default_exp_time = "9615";
						embedded_metadata_height = "1";
					};
					ports {
						#address-cells = <1>;
						#size-cells = <0>;
						status="okay";
						port@0 {
						status="okay";
							reg = <0>;
							ecam_imx415_out4: endpoint {
								port-index = <1>;
								bus-width = <2>;
								remote-endpoint = <&ecam_imx415_csi_in4>;
							};
						};
					};
				};
			};
			i2c_5: i2c@5 { /*CSI E*/
				imx415_cam5: imx415_g@42 {
					compatible = "nvidia,eimx415";
					/* I2C device address */
					reg = <0x42>;

					/* V4L2 device node location */
					devnode = "video5";
					status = "okay";
					/* Physical dimensions of sensor */
					physical_w = "5.60";
					physical_h = "3.175";

					sensor_model = "eimx415";

					use_decibel_gain = "true";
					use_sensor_mode_id = "true";
					use_dol_wdr_mode = "false";
					use_master_slave_mode = "false";
					limit_analog_gain = "true";
					camera_mipi_lanes = /bits/ 8 <2>;
					mipi-clk-configurable;
					camera_mipi_clk = /bits/ 16 <2000>;
					mode0 {
						mclk_khz = "37125";
						num_lanes = "2";
						tegra_sinterface = "serial_g";
						phy_mode = "DPHY";
						discontinuous_clk = "no";
						dpcm_enable = "false";
						cil_settletime = "0";
						dynamic_pixel_bit_depth = "12";
						csi_pixel_bit_depth = "12";
						mode_type = "bayer";
						pixel_phase = "gbrg";

						active_w = "3840";
						active_h = "2160";
						readout_orientation = "0";
						line_length = "887";
						inherent_gain = "1";
						mclk_multiplier = "1";
						pix_clk_hz = "300000000";

						gain_factor = "10";
						min_gain_val = "0";
						max_gain_val = "300";
						step_gain_val = "3";
						default_gain = "0";
						min_hdr_ratio = "1";
						max_hdr_ratio = "1";
						framerate_factor = "1000000";
						min_framerate = "5000000";
						max_framerate = "37000000";
						step_framerate = "1";
						default_framerate = "37000000";
						exposure_factor = "1000000";
						min_exp_time = "450";
						max_exp_time = "200000";
						step_exp_time = "1";
						default_exp_time = "27027";
						embedded_metadata_height = "1";
					};
					mode1 {
						mclk_khz = "37125";
						num_lanes = "2";
						tegra_sinterface = "serial_g";
						phy_mode = "DPHY";
						discontinuous_clk = "no";
						dpcm_enable = "false";
						cil_settletime = "0";
						dynamic_pixel_bit_depth = "10";
						csi_pixel_bit_depth = "10";
						mode_type = "bayer";
						pixel_phase = "gbrg";

						active_w = "3840";
						active_h = "2160";
						readout_orientation = "0";
						line_length = "746";
						inherent_gain = "1";
						mclk_multiplier = "1";
						pix_clk_hz = "300000000";

						gain_factor = "10";
						min_gain_val = "0";
						max_gain_val = "300";
						step_gain_val = "3";
						default_gain = "0";
						min_hdr_ratio = "1";
						max_hdr_ratio = "1";
						framerate_factor = "1000000";
						min_framerate = "5000000";
						max_framerate = "44000000";
						step_framerate = "1";
						default_framerate = "44000000";
						exposure_factor = "1000000";
						min_exp_time = "450";
						max_exp_time = "200000";
						step_exp_time = "1";
						default_exp_time = "22727";
						embedded_metadata_height = "1";
					};
					mode2 {
						mclk_khz = "37125";
						num_lanes = "2";
						tegra_sinterface = "serial_g";
						phy_mode = "DPHY";
						discontinuous_clk = "no";
						dpcm_enable = "false";
						cil_settletime = "0";
						dynamic_pixel_bit_depth = "12";
						csi_pixel_bit_depth = "12";
						mode_type = "bayer";
						pixel_phase = "gbrg";

						active_w = "1944";
						active_h = "1096";
						readout_orientation = "0";
						line_length = "470";
						inherent_gain = "1";
						mclk_multiplier = "1";
						pix_clk_hz = "300000000";

						gain_factor = "10";
						min_gain_val = "0";
						max_gain_val = "300";
						step_gain_val = "3";
						default_gain = "0";
						min_hdr_ratio = "1";
						max_hdr_ratio = "1";
						framerate_factor = "1000000";
						min_framerate = "5000000";
						max_framerate = "70000000";
						step_framerate = "1";
						default_framerate = "70000000";
						exposure_factor = "1000000";
						min_exp_time = "450";
						max_exp_time = "200000";
						step_exp_time = "1";
						default_exp_time = "14285";
						embedded_metadata_height = "1";
					};
					mode3 {
						mclk_khz = "37125";
						num_lanes = "2";
						tegra_sinterface = "serial_g";
						phy_mode = "DPHY";
						discontinuous_clk = "no";
						dpcm_enable = "false";
						cil_settletime = "0";
						dynamic_pixel_bit_depth = "12";
						csi_pixel_bit_depth = "12";
						mode_type = "bayer";
						pixel_phase = "gbrg";

						active_w = "1296";
						active_h = "732";
						readout_orientation = "0";
						line_length = "470";
						inherent_gain = "1";
						mclk_multiplier = "1";
						pix_clk_hz = "300000000";

						gain_factor = "10";
						min_gain_val = "0";
						max_gain_val = "300";
						step_gain_val = "3";
						default_gain = "0";
						min_hdr_ratio = "1";
						max_hdr_ratio = "1";
						framerate_factor = "1000000";
						min_framerate = "5000000";
						max_framerate = "104000000";
						step_framerate = "1";
						default_framerate = "104000000";
						exposure_factor = "1000000";
						min_exp_time = "450";
						max_exp_time = "200000";
						step_exp_time = "1";
						default_exp_time = "9615";
						embedded_metadata_height = "1";
					};
					ports {
						#address-cells = <1>;
						#size-cells = <0>;
						status="okay";
						port@0 {
						status="okay";
							reg = <0>;
							ecam_imx415_out5: endpoint {
								port-index = <5>;
								bus-width = <2>;
								remote-endpoint = <&ecam_imx415_csi_in5>;
							};
						};
					};
				};
			};			
// not channel related, but general config endings
		};
	};
};



/ {
	tegra-camera-platform {
		compatible = "nvidia, tegra-camera-platform";
		/**
		* Physical settings to calculate max ISO BW
		*
		* num_csi_lanes = <>;
		* Total number of CSI lanes when all cameras are active
		*
		* max_lane_speed = <>;
		* Max lane speed in Kbit/s
		*
		* min_bits_per_pixel = <>;
		* Min bits per pixel
		*
		* vi_peak_byte_per_pixel = <>;
		* Max byte per pixel for the VI ISO case
		*
		* vi_bw_margin_pct = <>;
		* Vi bandwidth margin in percentage
		*
		* max_pixel_rate = <>;
		* Max pixel rate in Kpixel/s for the ISP ISO case
		*
		* isp_peak_byte_per_pixel = <>;
		* Max byte per pixel for the ISP ISO case
		*
		* isp_bw_margin_pct = <>;
		* Isp bandwidth margin in percentage
		*/
		num_csi_lanes = <12>;
		max_lane_speed = <1500000>;
		min_bits_per_pixel = <16>;
		vi_peak_byte_per_pixel = <2>;
		vi_bw_margin_pct = <25>;
		max_pixel_rate = <750000>;
		isp_peak_byte_per_pixel = <5>;
		isp_bw_margin_pct = <25>;

		/**
		 * The general guideline for naming badge_info contains 3 parts, and is as follows,
		 * The first part is the camera_board_id for the module; if the module is in a FFD
		 * platform, then use the platform name for this part.
		 * The second part contains the position of the module, ex. "rear" or "front".
		 * The third part contains the last 6 characters of a part number which is found
		 * in the module's specsheet from the vendor.
		 */
		modules {
			status="okay";
			cam_module0: module0 {
				badge = "imx415_bottomright_0415";
				position = "bottomright";
				orientation = "1";
				status="okay";
				cam_module0_drivernode0: drivernode0 {
					status="okay";
					pcl_id = "v4l2_sensor";
					devname = "e-con_cam 30-0042";
					proc-device-tree = "/proc/device-tree/i2c@3180000/tca9548@70/i2c@0/imx415_a@42";
				};
			};
			cam_module1: module1 {
				status="okay";
				badge = "imx415_centerright_0415";
				position = "centerright";
				orientation = "1";
				cam_module1_drivernode0: drivernode0 {
					status="okay";
					pcl_id = "v4l2_sensor";
					devname = "e-con_cam 31-0042";
					proc-device-tree = "/proc/device-tree/i2c@3180000/tca9548@70/i2c@1/imx415_c@42";
				};
			};
			cam_module2: module2 {
				badge = "imx415_bottomleft_0415";
				position = "bottomleft";
				orientation = "1";
				status="okay";
				cam_module2_drivernode0: drivernode0 {
					status="okay";
					pcl_id = "v4l2_sensor";
					devname = "e-con_cam 32-0042";
					proc-device-tree = "/proc/device-tree/i2c@3180000/tca9548@70/i2c@2/imx415_d@42";
				};
			};
			cam_module3: module3 {
				badge = "imx415_centerleft_0415";
				position = "centerleft";
				orientation = "1";
				status="okay";
				cam_module3_drivernode0: drivernode0 {
					status="okay";
					pcl_id = "v4l2_sensor";
					devname = "e-con_cam 33-0042";
					proc-device-tree = "/proc/device-tree/i2c@3180000/tca9548@70/i2c@3/imx415_e@42";
				};
			};
			cam_module4: module4 {
				badge = "imx415_topright_0415";
				position = "topright";
				orientation = "1";
				status="okay";
				cam_module4_drivernode0: drivernode0 {
					status="okay";
					pcl_id = "v4l2_sensor";
					devname = "e-con_cam 34-0042";
					proc-device-tree = "/proc/device-tree/i2c@3180000/tca9548@70/i2c@4/imx415_b@42";
				};
			};
			cam_module5: module5 {
				badge = "imx415_topleft_0415";
				position = "topleft";
				orientation = "1";
				status="okay";
				cam_module5_drivernode0: drivernode0 {
					status="okay";
					pcl_id = "v4l2_sensor";
					devname = "e-con_cam 35-0042";
					proc-device-tree = "/proc/device-tree/i2c@3180000/tca9548@70/i2c@5/imx415_g@42";
				};
			};

		};
	};
};
